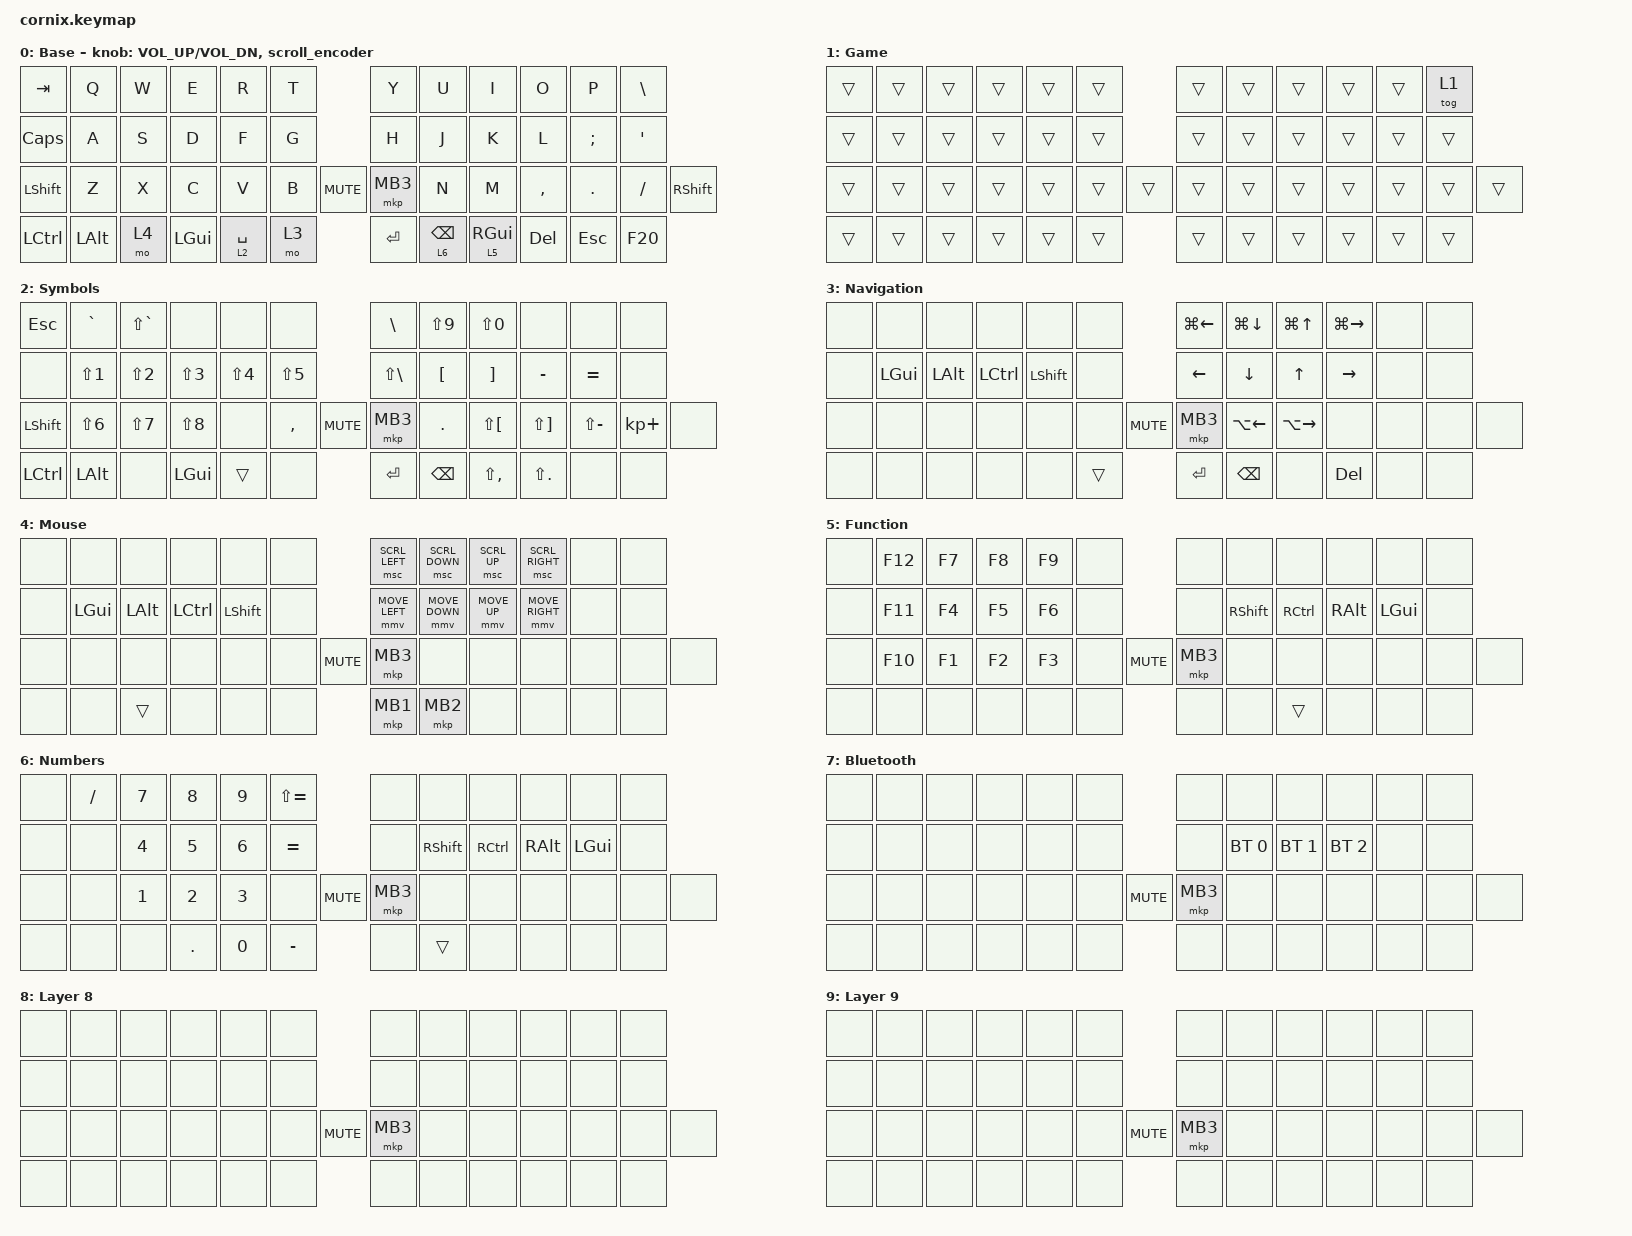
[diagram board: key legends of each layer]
/*
 * Copyright (c) 2020 The ZMK Contributors
 *
 * SPDX-License-Identifier: MIT
 */

#include <behaviors.dtsi>
#include <dt-bindings/zmk/bt.h>
#include <dt-bindings/zmk/keys.h>
#include <dt-bindings/zmk/pointing.h>

&lt {
    flavor = "balanced";
    tapping-term-ms = <170>;
};

/ {
    behaviors {
        scroll_encoder: scroll_encoder {
            compatible = "zmk,behavior-sensor-rotate";
            #sensor-binding-cells = <0>;
            // At the default 16 ms scroll interval, 64 units/s gives one step per tap.
            bindings = <&msc MOVE_Y(-64)>, <&msc MOVE_Y(64)>;
            tap-ms = <20>;
        };
    };

    combos {
        compatible = "zmk,combos";

        bluetooth_combo {
            bindings = <&mo 7>;
            key-positions = <25 26>;
            layers = <0 1>;
            timeout-ms = <50>;
        };

        game_combo {
            bindings = <&tog 1>;
            key-positions = <10 13>; // P + A
            layers = <0>;
            timeout-ms = <50>;
        };
    };

    keymap {
        compatible = "zmk,keymap";

        default_layer {
            display-name = "Base";
            bindings = <
                &kp TAB        &kp Q          &kp W          &kp E          &kp R          &kp T                       &kp Y          &kp U          &kp I          &kp O          &kp P          &kp BSLH
                &kp CAPSLOCK   &kp A          &kp S          &kp D          &kp F          &kp G                       &kp H          &kp J          &kp K          &kp L          &kp SEMI       &kp SQT
                &kp LSHFT      &kp Z          &kp X          &kp C          &kp V          &kp B          &kp C_MUTE   &mkp MB3       &kp N          &kp M          &kp COMMA      &kp DOT        &kp FSLH       &kp RSHFT
                &kp LCTRL      &kp LALT       &mo 4          &kp LGUI       &lt 2 SPACE    &mo 3                       &kp RET        &lt 6 BSPC     &lt 5 RGUI     &kp DELETE     &kp ESC        &kp F20
            >;
            sensor-bindings = <&inc_dec_kp C_VOL_UP C_VOL_DN>, <&scroll_encoder>;
        };

        game_layer {
            display-name = "Game";
            // Inherit Base so changes to the typing keys also apply in Game.
            bindings = <
                &trans &trans &trans &trans &trans &trans               &trans &trans &trans &trans &trans &tog 1
                &trans &trans &trans &trans &trans &trans               &trans &trans &trans &trans &trans &trans
                &trans &trans &trans &trans &trans &trans &trans &trans &trans &trans &trans &trans &trans &trans
                &trans &trans &trans &trans &trans &trans               &trans &trans &trans &trans &trans &trans
            >;
        };

        symbols_layer {
            display-name = "Symbols";
            bindings = <
                &kp ESC        &kp GRAVE      &kp LS(GRAVE)  &none          &none          &none                       &kp BSLH       &kp LS(N9)     &kp LS(N0)     &none          &none          &none
                &none          &kp LS(N1)     &kp LS(N2)     &kp LS(N3)     &kp LS(N4)     &kp LS(N5)                  &kp LS(BSLH)   &kp LBKT       &kp RBKT       &kp MINUS      &kp EQUAL      &none
                &kp LSHFT      &kp LS(N6)     &kp LS(N7)     &kp LS(N8)     &none          &kp COMMA      &kp C_MUTE   &mkp MB3       &kp DOT        &kp LS(LBKT)   &kp LS(RBKT)   &kp LS(MINUS)  &kp KP_PLUS    &none
                &kp LCTRL      &kp LALT       &none          &kp LGUI       &trans         &none                       &kp RET        &kp BSPC       &kp LS(COMMA)  &kp LS(DOT)    &none          &none
            >;
        };

        navigation_layer {
            display-name = "Navigation";
            bindings = <
                &none          &none          &none          &none          &none          &none                       &kp LG(LEFT)   &kp LG(DOWN)   &kp LG(UP)     &kp LG(RIGHT)  &none          &none
                &none          &kp LGUI       &kp LALT       &kp LCTRL      &kp LSHFT      &none                       &kp LEFT       &kp DOWN       &kp UP         &kp RIGHT      &none          &none
                &none          &none          &none          &none          &none          &none          &kp C_MUTE   &mkp MB3       &kp LA(LEFT)   &kp LA(RIGHT)  &none          &none          &none          &none
                &none          &none          &none          &none          &none          &trans                      &kp RET        &kp BSPC       &none          &kp DELETE     &none          &none
            >;
        };

        mouse_layer {
            display-name = "Mouse";
            bindings = <
                &none          &none          &none          &none          &none          &none                       &msc SCRL_LEFT  &msc SCRL_DOWN  &msc SCRL_UP   &msc SCRL_RIGHT  &none          &none
                &none          &kp LGUI       &kp LALT       &kp LCTRL      &kp LSHFT      &none                       &mmv MOVE_LEFT  &mmv MOVE_DOWN  &mmv MOVE_UP   &mmv MOVE_RIGHT  &none          &none
                &none          &none          &none          &none          &none          &none          &kp C_MUTE   &mkp MB3       &none          &none          &none          &none          &none          &none
                &none          &none          &trans         &none          &none          &none                       &mkp MB1       &mkp MB2       &none          &none          &none          &none
            >;
        };

        function_layer {
            display-name = "Function";
            bindings = <
                &none          &kp F12        &kp F7         &kp F8         &kp F9         &none                       &none          &none          &none          &none          &none          &none
                &none          &kp F11        &kp F4         &kp F5         &kp F6         &none                       &none          &kp RSHFT      &kp RCTRL      &kp RALT       &kp LGUI       &none
                &none          &kp F10        &kp F1         &kp F2         &kp F3         &none          &kp C_MUTE   &mkp MB3       &none          &none          &none          &none          &none          &none
                &none          &none          &none          &none          &none          &none                       &none          &none          &trans         &none          &none          &none
            >;
        };

        number_layer {
            display-name = "Numbers";
            bindings = <
                &none          &kp FSLH       &kp N7         &kp N8         &kp N9         &kp LS(EQUAL)               &none          &none          &none          &none          &none          &none
                &none          &none          &kp N4         &kp N5         &kp N6         &kp EQUAL                   &none          &kp RSHFT      &kp RCTRL      &kp RALT       &kp LGUI       &none
                &none          &none          &kp N1         &kp N2         &kp N3         &none          &kp C_MUTE   &mkp MB3       &none          &none          &none          &none          &none          &none
                &none          &none          &none          &kp DOT        &kp N0         &kp MINUS                   &none          &trans         &none          &none          &none          &none
            >;
        };

        bluetooth_layer {
            display-name = "Bluetooth";
            bindings = <
                &none          &none          &none          &none          &none          &none                       &none          &none          &none          &none          &none          &none
                &none          &none          &none          &none          &none          &none                       &none          &bt BT_SEL 0   &bt BT_SEL 1   &bt BT_SEL 2   &none          &none
                &none          &none          &none          &none          &none          &none          &kp C_MUTE   &mkp MB3       &none          &none          &none          &none          &none          &none
                &none          &none          &none          &none          &none          &none                       &none          &none          &none          &none          &none          &none
            >;
        };

        layer_8 {
            display-name = "Layer 8";
            bindings = <
                &none          &none          &none          &none          &none          &none                       &none          &none          &none          &none          &none          &none
                &none          &none          &none          &none          &none          &none                       &none          &none          &none          &none          &none          &none
                &none          &none          &none          &none          &none          &none          &kp C_MUTE   &mkp MB3       &none          &none          &none          &none          &none          &none
                &none          &none          &none          &none          &none          &none                       &none          &none          &none          &none          &none          &none
            >;
        };

        layer_9 {
            display-name = "Layer 9";
            bindings = <
                &none          &none          &none          &none          &none          &none                       &none          &none          &none          &none          &none          &none
                &none          &none          &none          &none          &none          &none                       &none          &none          &none          &none          &none          &none
                &none          &none          &none          &none          &none          &none          &kp C_MUTE   &mkp MB3       &none          &none          &none          &none          &none          &none
                &none          &none          &none          &none          &none          &none                       &none          &none          &none          &none          &none          &none
            >;
        };
    };
};
